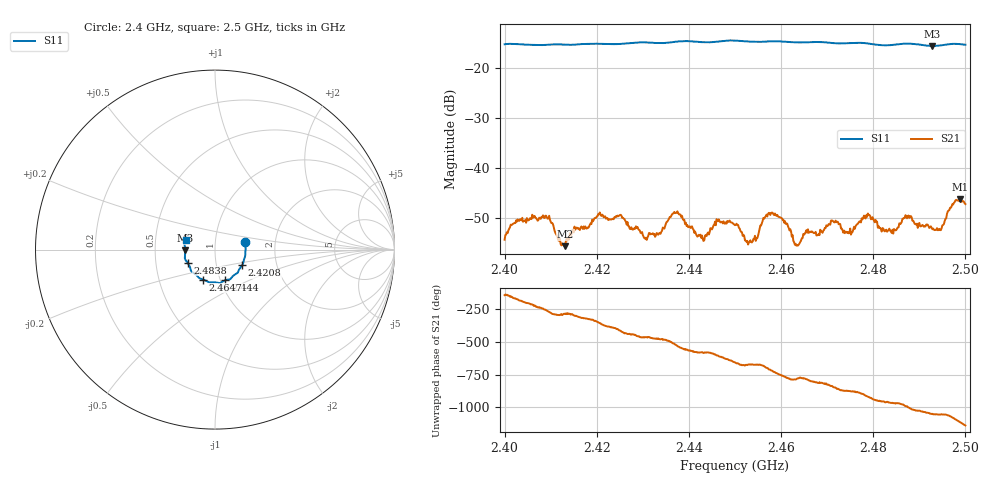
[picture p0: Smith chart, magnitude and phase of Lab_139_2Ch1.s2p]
# Hz S RI R
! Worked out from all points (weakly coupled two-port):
!   601 points, 2.4 GHz to 2.5 GHz, reference 50 ohm
!   highest |S21| = -46.37 dB at 2.4988 GHz (marker M1); lowest = -55.7 dB at 2.4132 GHz (marker M2)
!   lowest |S11| = -15.6 dB at 2.4928 GHz (marker M3), VSWR 1.40, Z = 35.8 - j0.363 ohm
!   |S11| at or under -10 dB: start of sweep to end of sweep
!   S12 and S22 are empty: the file has one direction only
!   S11 on the Smith chart (normalised r, x): 2.4 GHz: 1.40, +0.12; 2.4208 GHz: 1.33, -0.24; 2.444 GHz: 1.06, -0.37; 2.4647 GHz: 0.83, -0.29; 2.4838 GHz: 0.73, -0.11; 2.5 GHz: 0.72, +0.08
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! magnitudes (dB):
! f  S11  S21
! 2.4 GHz  -15.3  -54.4
! 2.4087 GHz  -15.4  -50.1
! 2.4132 GHz  -15.3  -55.7
! 2.4167 GHz  -15.2  -51.8
! 2.4208 GHz  -15.2  -49.5
! 2.4333 GHz  -15.0  -53.4
! 2.4372 GHz  -14.7  -49.1
! 2.444 GHz  -14.9  -53.2
! 2.45 GHz  -14.5  -51.5
! 2.4533 GHz  -14.7  -54.6
! 2.4583 GHz  -14.7  -49.3
! 2.4632 GHz  -14.9  -55.3
! 2.4647 GHz  -14.9  -54.1
! 2.4667 GHz  -14.8  -52.8
! 2.475 GHz  -15.0  -52.2
! 2.4788 GHz  -15.1  -49.2
! 2.4833 GHz  -15.5  -52.5
! 2.4838 GHz  -15.4  -52.7
! 2.4875 GHz  -15.1  -49.7
! 2.4928 GHz  -15.6  -52.4
! 2.4988 GHz  -15.2  -46.4
! 2.5 GHz  -15.3  -47.3
